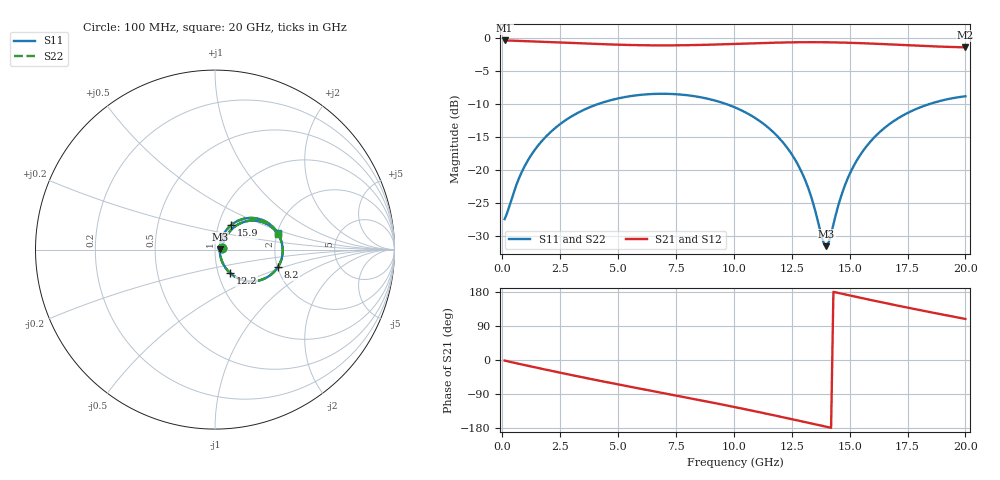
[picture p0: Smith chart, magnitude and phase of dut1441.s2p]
! Touchstone file exported from HFSS 2026.1.0
!  File:  C:/ffzhzh/LocalFiles/Ansys_Project_Files/temp_train_TSV_RDL_1441_1783357715_4416.aedt
!  Generated:  01:19:00 AM Jul  7, 2026
!  Design:  TSV_RDL
!  Project:  temp_train_TSV_RDL_1441_1783357715_4416
! Variables:
!  h_bsmrdl = 2.02um
!  h_ox = 20um
!  h_rdl = 5um
!  h_sub = 93.45um
!  h_tmrdl = 3.07um
!  h_tsv = 93.45um
!  h_via = 3um
!  l_bsmrdl = 451.82um
!  l_sub = 3912.75um
!  l_tmrdl = 521.24um
!  m_sub = 200um
!  pitch = 24.39um
!  r_tsv = 7.01um
!  s_tmrdl = 10um
!  w_bsmrdl = 10.37um
!  w_sub = 500um
!  w_tmrdl = 13.74um
!  x_tsv_center1 = 528.11um
!  x_tsv_center2 = 990.3um
!  x_tsv_center3 = 1525.28um
!  x_tsv_center4 = 1987.47um
!  x_tsv_center5 = 2522.45um
!  x_tsv_center6 = 2984.64um
# GHz S MA R 50.000000
! Terminal data exported
! Port[1] = TM_RDL1_1_T1
! Port[2] = TM_RDL5_1_T1
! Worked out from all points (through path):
!   200 points, 100 MHz to 20 GHz, reference 50 ohm
!   highest |S21| = -0.36 dB at 100 MHz (marker M1); lowest = -1.4 dB at 20 GHz (marker M2)
!   group delay of S21, straight-line fit = 34.9 ps
!   lowest |S11| = -31.6 dB at 14 GHz (marker M3), VSWR 1.05, Z = 52.7 + j0.174 ohm
!   |S11| at or under -10 dB: start of sweep to 4.155 GHz; 9.653 GHz to 18.46 GHz (8.809 GHz wide, 62.7 % of centre)
!   |S22| runs from -31.6 to -8.5 dB; largest |S21 - S12| = 1.7e-14
!   S11 on the Smith chart (normalised r, x): 100 MHz: 1.09, +0.02; 8.2 GHz: 2.02, -0.45; 12.2 GHz: 1.14, -0.30; 15.9 GHz: 1.15, +0.32; 20 GHz: 2.02, +0.42
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0.1  0.04218 13.4  0.9592 -1.4  0.9592 -1.4  0.04218 13.4
! Gamma 0 0 0 0
! Port Impedance 50 0 50 0
0.8  0.09268 49.4  0.9506 -11.2  0.9506 -11.2  0.09268 49.4
1.4  0.1413 50.8  0.9426 -19.2  0.9426 -19.2  0.1413 50.8
2.3  0.2085 45.5  0.9298 -30.9  0.9298 -30.9  0.2085 45.5
3.5  0.2839 34.4  0.911 -46.1  0.911 -46.1  0.2839 34.4
5.1  0.3511 17.8  0.8897 -65.6  0.8897 -65.6  0.3511 17.8
6.8  0.3775 -0.2  0.88 -85.5  0.88 -85.5  0.3775 -0.2
8.2  0.364 -15.3  0.8842 -101.9  0.8842 -101.9  0.364 -15.3
10.1  0.2947 -36.1  0.9034 -125.0  0.9034 -125.0  0.2948 -36.1
11.3  0.2219 -49.0  0.9178 -140.3  0.9178 -140.3  0.222 -49.0
12.2  0.1551 -57.3  0.9262 -152.1  0.9262 -152.1  0.1551 -57.3
12.9  0.09828 -60.5  0.9299 -161.4  0.9299 -161.4  0.09833 -60.4
13.4  0.05761 -55.3  0.9306 -168.1  0.9306 -168.1  0.05769 -55.2
13.8  0.03071 -28.9  0.9299 -173.5  0.9299 -173.5  0.03085 -28.8
14  0.02627 3.6  0.9291 -176.2  0.9291 -176.2  0.02642 3.5
14.1  0.02826 20.5  0.9286 -177.6  0.9286 -177.6  0.0284 20.3
14.9  0.08444 60.3  0.9221 171.7  0.9221 171.7  0.08448 60.1
15.4  0.1248 59.9  0.9161 165.1  0.9161 165.1  0.1248 59.8
15.9  0.1637 56.6  0.909 158.5  0.909 158.5  0.1638 56.5
16.7  0.2208 49.2  0.896 148.2  0.896 148.2  0.2208 49.1
18.3  0.3094 32.4  0.8697 128.4  0.8697 128.4  0.3094 32.4
20  0.3615 14.4  0.8502 108.3  0.8502 108.3  0.3615 14.3
